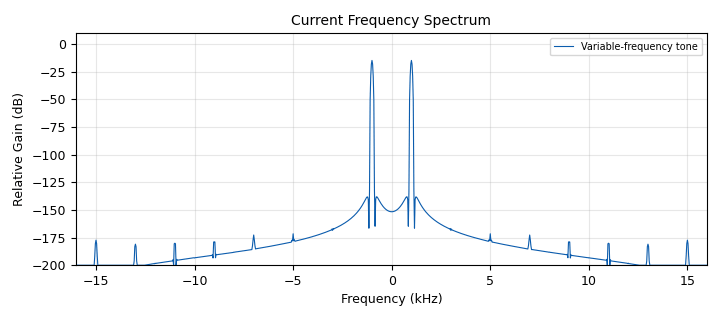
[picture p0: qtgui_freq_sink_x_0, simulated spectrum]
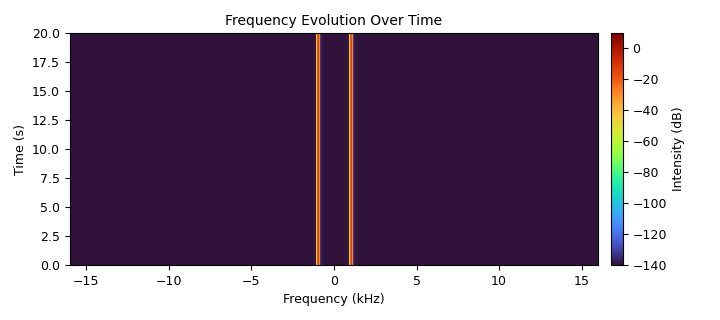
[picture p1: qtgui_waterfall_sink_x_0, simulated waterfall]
options:
  parameters:
    author: Dhrubjun
    generate_options: qt_gui
    id: exp5
    output_language: python
    title: Frequency Change with Time
  states: {}

blocks:
- name: samp_rate
  id: variable
  parameters:
    value: '32000'
  states: {}
- name: tone_freq
  id: variable_qtgui_range
  parameters:
    label: Tone Frequency
    start: '1000'
    step: '500'
    stop: '10000'
    value: '1000'
  states: {}
- name: analog_sig_source_x_0
  id: analog_sig_source_x
  parameters:
    amp: '1'
    freq: tone_freq
    offset: '0'
    phase: '0'
    samp_rate: samp_rate
    type: float
    waveform: analog.GR_COS_WAVE
  states: {}
- name: blocks_throttle2_0
  id: blocks_throttle2
  parameters:
    samples_per_second: samp_rate
    type: float
  states: {}
- name: qtgui_freq_sink_x_0
  id: qtgui_freq_sink_x
  parameters:
    bw: samp_rate
    color1: '"red"'
    fc: '0'
    fftsize: '1024'
    grid: 'True'
    label1: Variable-frequency tone
    name: Current Frequency Spectrum
    type: float
    ymin: '-200'
  states: {}
- name: qtgui_waterfall_sink_x_0
  id: qtgui_waterfall_sink_x
  parameters:
    bw: samp_rate
    fc: '0'
    fftsize: '1024'
    name: Frequency Evolution Over Time
    type: float
  states: {}

connections:
- [analog_sig_source_x_0, '0', blocks_throttle2_0, '0']
- [blocks_throttle2_0, '0', qtgui_freq_sink_x_0, '0']
- [blocks_throttle2_0, '0', qtgui_waterfall_sink_x_0, '0']

metadata:
  file_format: 1
  grc_version: 3.10.12.0
